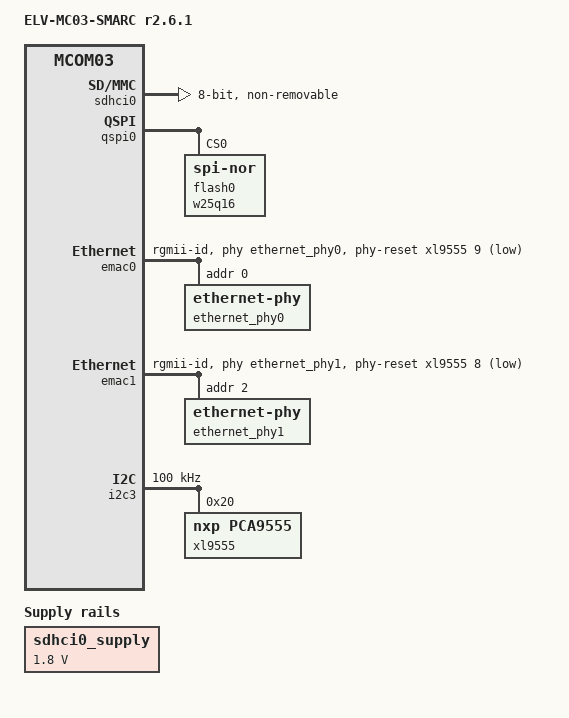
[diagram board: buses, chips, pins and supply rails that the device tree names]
// SPDX-License-Identifier: GPL-2.0+
/*
 * Copyright 2023 RnD Center "ELVEES", JSC
 */

/dts-v1/;

#include <dt-bindings/gpio/gpio.h>

#include "mcom03.dtsi"

/ {
	model = "ELV-MC03-SMARC r2.6.1";
	compatible = "elvees,elvmc03smarc-r2.6.1",
		     "elvees,elvmc03smarc",
		     "elvees,mcom03";

	sdhci0_supply: regulator@0 {
		compatible = "regulator-fixed";
		regulator-name = "sdhci0-supply";
		regulator-min-microvolt = <1800000>;
		regulator-max-microvolt = <1800000>;
		regulator-always-on;
	};
};

/* Connected to eMMC */
&sdhci0 {
	status = "okay";

	non-removable;
	bus-width = <8>;

	vqmmc-supply = <&sdhci0_supply>;
};

&qspi0 {
	status = "okay";

	flash0: w25q16@0 {
		#address-cells = <1>;
		#size-cells = <1>;
		compatible = "jedec,spi-nor", "spi-flash";
		reg = <0x0>;

		spi-tx-bus-width = <4>;
		spi-rx-bus-width = <4>;
	};
};

/* Serial port definitions for SMARC */
ser0: &uart3 { };
ser1: &uart0 { };
ser2: &uart2 { };
ser3: &uart1 { };

&emac0 {
	phy-mode = "rgmii-id";
	phy-reset-gpios = <&xl9555 9 GPIO_ACTIVE_LOW>;
	phy-handle = <&ethernet_phy0>;

	ethernet_phy0: ethernet-phy@0 {
		reg = <0x0>;
		motorcomm,clk-out-frequency-hz = <0>;
		rx-internal-delay-ps = <1800>;
		tx-internal-delay-ps = <1200>;
	};
};

&emac1 {
	phy-mode = "rgmii-id";
	phy-reset-gpios = <&xl9555 8 GPIO_ACTIVE_LOW>;
	phy-handle = <&ethernet_phy1>;

	ethernet_phy1: ethernet-phy@2 {
		reg = <0x2>;
		motorcomm,clk-out-frequency-hz = <0>;
		rx-internal-delay-ps = <1900>;
		tx-internal-delay-ps = <1650>;
	};
};

&i2c3 {
	status = "okay";
	clock-frequency = <100000>;

	xl9555: gpio-expander@20 {
		compatible = "nxp,pca9555";
		reg = <0x20>;

		#gpio-cells = <2>;
		gpio-controller;

		gpio-line-names = "GPIO4", "GPIO6", "GPIO7", "GPIO8", "GPIO9", "GPIO10",
			"GPIO11", " PCIE_WAKE#", "nRST_ETH1", "nRST_ETH0", "nRST_HDMI", "",
			"INT_HDMI", "nINT_RTC", "nINT_ETH0", "nINT_ETH1";
	};
};
